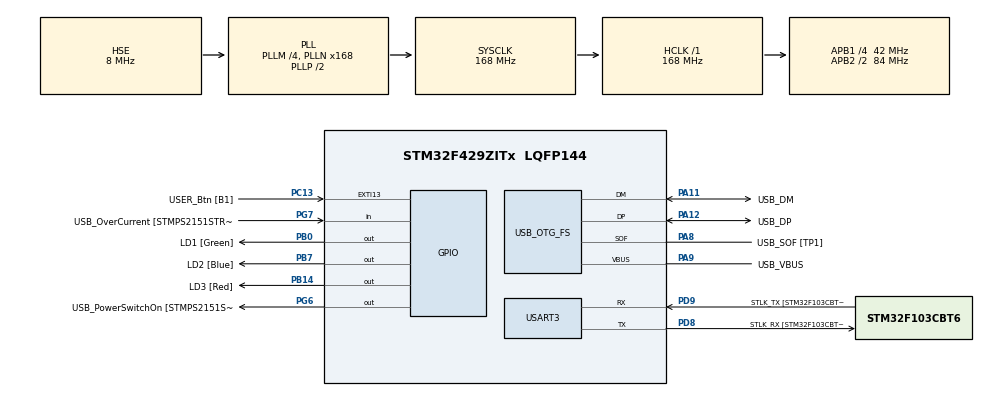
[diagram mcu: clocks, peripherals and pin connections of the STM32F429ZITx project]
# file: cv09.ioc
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Mcu.Family=STM32F4
Mcu.Name=STM32F429ZITx
Mcu.Package=LQFP144
NVIC.OTG_FS_IRQn=true\:0\:0\:false\:false\:true\:true\:true
NVIC.PriorityGroup=NVIC_PRIORITYGROUP_4
PA1.GPIO_Label=RMII_REF_CLK [LAN8742A-CZ-TR_REFCLK0]
PA1.Signal=ETH_REF_CLK
PA10.GPIO_Label=USB_ID
PA10.Signal=USB_OTG_FS_ID
PA11.GPIO_Label=USB_DM
PA11.Mode=Device_Only
PA11.Signal=USB_OTG_FS_DM
PA12.GPIO_Label=USB_DP
PA12.Mode=Device_Only
PA12.Signal=USB_OTG_FS_DP
PA13.GPIO_Label=TMS
PA13.Mode=Serial_Wire
PA13.Signal=SYS_JTMS-SWDIO
PA14.GPIO_Label=TCK
PA14.Mode=Serial_Wire
PA14.Signal=SYS_JTCK-SWCLK
PA2.GPIO_Label=RMII_MDIO [LAN8742A-CZ-TR_MDIO]
PA2.Signal=ETH_MDIO
PA7.GPIO_Label=RMII_CRS_DV [LAN8742A-CZ-TR_CRS_DV]
PA7.Signal=ETH_CRS_DV
PA8.GPIO_Label=USB_SOF [TP1]
PA8.Mode=Activate_SOF_FS
PA8.Signal=USB_OTG_FS_SOF
PA9.GPIO_Label=USB_VBUS
PA9.Mode=Activate_VBUS
PA9.Signal=USB_OTG_FS_VBUS
PB0.GPIO_Label=LD1 [Green]
PB0.Signal=GPIO_Output
PB13.GPIO_Label=RMII_TXD1 [LAN8742A-CZ-TR_TXD1]
PB13.Signal=ETH_TXD1
PB14.GPIO_Label=LD3 [Red]
PB14.Signal=GPIO_Output
PB7.GPIO_Label=LD2 [Blue]
PB7.Signal=GPIO_Output
PC1.GPIO_Label=RMII_MDC [LAN8742A-CZ-TR_MDC]
PC1.Signal=ETH_MDC
PC13.GPIO_Label=USER_Btn [B1]
PC13.Signal=GPXTI13
PC14/OSC32_IN.Mode=LSE-External-Oscillator
PC14/OSC32_IN.Signal=RCC_OSC32_IN
PC15/OSC32_OUT.Mode=LSE-External-Oscillator
PC15/OSC32_OUT.Signal=RCC_OSC32_OUT
PC4.GPIO_Label=RMII_RXD0 [LAN8742A-CZ-TR_RXD0]
PC4.Signal=ETH_RXD0
PC5.GPIO_Label=RMII_RXD1 [LAN8742A-CZ-TR_RXD1]
PC5.Signal=ETH_RXD1
PD8.GPIO_Label=STLK_RX [STM32F103CBT6_PA3]
PD8.Mode=Asynchronous
PD8.Signal=USART3_TX
PD9.GPIO_Label=STLK_TX [STM32F103CBT6_PA2]
PD9.Mode=Asynchronous
PD9.Signal=USART3_RX
PG11.GPIO_Label=RMII_TX_EN [LAN8742A-CZ-TR_TXEN]
PG11.Signal=ETH_TX_EN
PG13.GPIO_Label=RMII_TXD0 [LAN8742A-CZ-TR_TXD0]
PG13.Signal=ETH_TXD0
PG6.GPIO_Label=USB_PowerSwitchOn [STMPS2151STR_EN]
PG6.Signal=GPIO_Output
PG7.GPIO_Label=USB_OverCurrent [STMPS2151STR_FAULT]
PG7.Signal=GPIO_Input
PH0/OSC_IN.GPIO_Label=MCO [STM32F103CBT6_PA8]
PH0/OSC_IN.Mode=HSE-External-Clock-Source
PH0/OSC_IN.Signal=RCC_OSC_IN
PH1/OSC_OUT.Mode=HSE-External-Clock-Source
PH1/OSC_OUT.Signal=RCC_OSC_OUT
ProjectManager.HeapSize=0x200
ProjectManager.StackSize=0x400
ProjectManager.TargetToolchain=STM32CubeIDE
RCC.48MHZClocksFreq_Value=48000000
RCC.AHBFreq_Value=168000000
RCC.APB1CLKDivider=RCC_HCLK_DIV4
RCC.APB1Freq_Value=42000000
RCC.APB1TimFreq_Value=84000000
RCC.APB2CLKDivider=RCC_HCLK_DIV2
RCC.APB2Freq_Value=84000000
RCC.APB2TimCLKDivider=2
RCC.APB2TimFreq_Value=168000000
RCC.CortexFreq_Value=168000000
RCC.HCLKFreq_Value=168000000
RCC.HSE_VALUE=8000000
RCC.HSI_VALUE=16000000
RCC.PLLM=4
RCC.PLLMUL=RCC_PLL_MUL9
RCC.PLLN=168
RCC.PLLQ=7
RCC.PRESCALERUSB=RCC_USBCLKSOURCE_PLL_DIV1_5
RCC.SYSCLKFreq_VALUE=168000000
RCC.SYSCLKSource=RCC_SYSCLKSOURCE_PLLCLK
RCC.SYSCLKSourceVirtual=RCC_SYSCLKSOURCE_PLLCLK
RCC.USBFreq_Value=48000000
RCC.VCOOutputFreq_Value=336000000
USART3.VirtualMode=VM_ASYNC
USB_DEVICE.CLASS_NAME_FS=HID
USB_DEVICE.VirtualMode-HID_FS=Hid
USB_DEVICE.VirtualModeFS=Hid_FS
USB_OTG_FS.VirtualMode=Device_Only
VP_USB_DEVICE_VS_USB_DEVICE_HID_FS.Mode=HID_FS
board=NUCLEO-F429ZI

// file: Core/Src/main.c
/* USER CODE BEGIN Header */
/**
  ******************************************************************************
  * @file           : main.c
  * @brief          : Main program body
  ******************************************************************************
  * @attention
  *
  * <h2><center>&copy; Copyright (c) 2020 STMicroelectronics.
  * All rights reserved.</center></h2>
  *
  * This software component is licensed by ST under BSD 3-Clause license,
  * the "License"; You may not use this file except in compliance with the
  * License. You may obtain a copy of the License at:
  *                        opensource.org/licenses/BSD-3-Clause
  *
  ******************************************************************************
  */
/* USER CODE END Header */
#include "main.h"
#include "usb_device.h"

/* USER CODE BEGIN Includes */
#include "usbd_hid.h"
#include <math.h>

/* USER CODE END Includes */

/* USER CODE BEGIN PD */
#define PI 3.14159265358979323846

/* USER CODE END PD */

UART_HandleTypeDef huart3;

/* USER CODE BEGIN PV */
extern USBD_HandleTypeDef hUsbDeviceFS;

void step(int8_t x, int8_t y, int8_t btn){

	uint8_t buff[4];

	buff[0] = &btn; // stiskni leve tlacitko
	buff[1] = x; // posun X +10
	buff[2] = y; // posun Y -3
	buff[3] = 0; // bez scrollu

	USBD_HID_SendReport(&hUsbDeviceFS, buff, sizeof(buff));

	return;
}

void circle(uint8_t radius){

	int8_t new_x = 0;
	int8_t new_y = 0;
	float x = 0;
	float y = 0;

	uint8_t i;

	uint8_t buff[4];
	buff[0] = 0x01;

	for (i = 0; i <= 2*PI; i + 2*PI/50){

		buff[1] = new_x; // posun X
		buff[2] = new_y; // posun Y
		buff[3] = 0; // bez scrollu

		USBD_HID_SendReport(&hUsbDeviceFS, buff, sizeof(buff));

		x = radius * cos(i);
		y = radius * sin(i);

		new_x = (int8_t)(x)-new_x;
		new_y = (int8_t)(y)-new_y;

	}

	return;

}

void arc(uint8_t radius){

	int8_t new_x = 0;
	int8_t new_y = 0;
	float x = 0;
	float y = 0;

	uint8_t i;

	uint8_t buff[4];
	buff[0] = 0x01;

	for (i = 0; i <= 2*(PI/3); i + 2*(PI/3)/50){

		buff[1] = new_x; // posun X
		buff[2] = new_y; // posun Y
		buff[3] = 0; // bez scrollu

		USBD_HID_SendReport(&hUsbDeviceFS, buff, sizeof(buff));

		x = radius * cos(i);
		y = radius * sin(i);

		new_x = (int8_t)(x)-new_x;
		new_y = (int8_t)(y)-new_y;

	}

	return;

}

void smile(){	// pro presnou kresbu je nutne dodat body pocatecnich bodu a uhlu jako vstupni hodnoty funkci

	circle(200);
	HAL_Delay(USBD_HID_GetPollingInterval(&hUsbDeviceFS));

	circle(10);
	HAL_Delay(USBD_HID_GetPollingInterval(&hUsbDeviceFS));
	circle(10);
	HAL_Delay(USBD_HID_GetPollingInterval(&hUsbDeviceFS));

	arc(150);
	HAL_Delay(USBD_HID_GetPollingInterval(&hUsbDeviceFS));

	step(0, -40, 1);
	HAL_Delay(USBD_HID_GetPollingInterval(&hUsbDeviceFS));

	return;

}

/* USER CODE END PV */

void SystemClock_Config(void);
static void MX_GPIO_Init(void);
static void MX_USART3_UART_Init(void);

int main(void)
{

  /* MCU Configuration--------------------------------------------------------*/

  /* Reset of all peripherals, Initializes the Flash interface and the Systick. */
  HAL_Init();

  /* Configure the system clock */
  SystemClock_Config();

  /* Initialize all configured peripherals */
  MX_GPIO_Init();
  MX_USART3_UART_Init();
  MX_USB_DEVICE_Init();

  /* Infinite loop */
  /* USER CODE BEGIN WHILE */
  while (1)
  {
	  do { HAL_Delay(40); } while (HAL_GPIO_ReadPin(USER_Btn_GPIO_Port, USER_Btn_Pin));

	  uint8_t buff[4];

	  buff[0] = 0x01; // stiskni leve tlacitko
	  buff[1] = (int8_t)(10); // posun X +10
	  buff[2] = (int8_t)(-3); // posun Y -3
	  buff[3] = 0; // bez scrollu

	  USBD_HID_SendReport(&hUsbDeviceFS, buff, sizeof(buff));
	  HAL_Delay(USBD_HID_GetPollingInterval(&hUsbDeviceFS));

    /* USER CODE END WHILE */

  }
}

void SystemClock_Config(void)
{
  RCC_OscInitTypeDef RCC_OscInitStruct = {0};
  RCC_ClkInitTypeDef RCC_ClkInitStruct = {0};

  /** Configure the main internal regulator output voltage
  */
  __HAL_RCC_PWR_CLK_ENABLE();
  __HAL_PWR_VOLTAGESCALING_CONFIG(PWR_REGULATOR_VOLTAGE_SCALE1);
  /** Initializes the RCC Oscillators according to the specified parameters
  * in the RCC_OscInitTypeDef structure.
  */
  RCC_OscInitStruct.OscillatorType = RCC_OSCILLATORTYPE_HSE;
  RCC_OscInitStruct.HSEState = RCC_HSE_BYPASS;
  RCC_OscInitStruct.PLL.PLLState = RCC_PLL_ON;
  RCC_OscInitStruct.PLL.PLLSource = RCC_PLLSOURCE_HSE;
  RCC_OscInitStruct.PLL.PLLM = 4;
  RCC_OscInitStruct.PLL.PLLN = 168;
  RCC_OscInitStruct.PLL.PLLP = RCC_PLLP_DIV2;
  RCC_OscInitStruct.PLL.PLLQ = 7;
  if (HAL_RCC_OscConfig(&RCC_OscInitStruct) != HAL_OK)
  {
    Error_Handler();
  }
  /** Initializes the CPU, AHB and APB buses clocks
  */
  RCC_ClkInitStruct.ClockType = RCC_CLOCKTYPE_HCLK|RCC_CLOCKTYPE_SYSCLK
                              |RCC_CLOCKTYPE_PCLK1|RCC_CLOCKTYPE_PCLK2;
  RCC_ClkInitStruct.SYSCLKSource = RCC_SYSCLKSOURCE_PLLCLK;
  RCC_ClkInitStruct.AHBCLKDivider = RCC_SYSCLK_DIV1;
  RCC_ClkInitStruct.APB1CLKDivider = RCC_HCLK_DIV4;
  RCC_ClkInitStruct.APB2CLKDivider = RCC_HCLK_DIV2;

  if (HAL_RCC_ClockConfig(&RCC_ClkInitStruct, FLASH_LATENCY_5) != HAL_OK)
  {
    Error_Handler();
  }
}

static void MX_USART3_UART_Init(void)
{

  huart3.Instance = USART3;
  huart3.Init.BaudRate = 115200;
  huart3.Init.WordLength = UART_WORDLENGTH_8B;
  huart3.Init.StopBits = UART_STOPBITS_1;
  huart3.Init.Parity = UART_PARITY_NONE;
  huart3.Init.Mode = UART_MODE_TX_RX;
  huart3.Init.HwFlowCtl = UART_HWCONTROL_NONE;
  huart3.Init.OverSampling = UART_OVERSAMPLING_16;
  if (HAL_UART_Init(&huart3) != HAL_OK)
  {
    Error_Handler();
  }

}

static void MX_GPIO_Init(void)
{
  GPIO_InitTypeDef GPIO_InitStruct = {0};

  /* GPIO Ports Clock Enable */
  __HAL_RCC_GPIOC_CLK_ENABLE();
  __HAL_RCC_GPIOH_CLK_ENABLE();
  __HAL_RCC_GPIOA_CLK_ENABLE();
  __HAL_RCC_GPIOB_CLK_ENABLE();
  __HAL_RCC_GPIOD_CLK_ENABLE();
  __HAL_RCC_GPIOG_CLK_ENABLE();

  /*Configure GPIO pin Output Level */
  HAL_GPIO_WritePin(GPIOB, LD1_Pin|LD3_Pin|LD2_Pin, GPIO_PIN_RESET);

  /*Configure GPIO pin Output Level */
  HAL_GPIO_WritePin(USB_PowerSwitchOn_GPIO_Port, USB_PowerSwitchOn_Pin, GPIO_PIN_RESET);

  /*Configure GPIO pin : USER_Btn_Pin */
  GPIO_InitStruct.Pin = USER_Btn_Pin;
  GPIO_InitStruct.Mode = GPIO_MODE_IT_RISING;
  GPIO_InitStruct.Pull = GPIO_NOPULL;
  HAL_GPIO_Init(USER_Btn_GPIO_Port, &GPIO_InitStruct);

  /*Configure GPIO pins : RMII_MDC_Pin RMII_RXD0_Pin RMII_RXD1_Pin */
  GPIO_InitStruct.Pin = RMII_MDC_Pin|RMII_RXD0_Pin|RMII_RXD1_Pin;
  GPIO_InitStruct.Mode = GPIO_MODE_AF_PP;
  GPIO_InitStruct.Pull = GPIO_NOPULL;
  GPIO_InitStruct.Speed = GPIO_SPEED_FREQ_VERY_HIGH;
  GPIO_InitStruct.Alternate = GPIO_AF11_ETH;
  HAL_GPIO_Init(GPIOC, &GPIO_InitStruct);

  /*Configure GPIO pins : RMII_REF_CLK_Pin RMII_MDIO_Pin RMII_CRS_DV_Pin */
  GPIO_InitStruct.Pin = RMII_REF_CLK_Pin|RMII_MDIO_Pin|RMII_CRS_DV_Pin;
  GPIO_InitStruct.Mode = GPIO_MODE_AF_PP;
  GPIO_InitStruct.Pull = GPIO_NOPULL;
  GPIO_InitStruct.Speed = GPIO_SPEED_FREQ_VERY_HIGH;
  GPIO_InitStruct.Alternate = GPIO_AF11_ETH;
  HAL_GPIO_Init(GPIOA, &GPIO_InitStruct);

  /*Configure GPIO pins : LD1_Pin LD3_Pin LD2_Pin */
  GPIO_InitStruct.Pin = LD1_Pin|LD3_Pin|LD2_Pin;
  GPIO_InitStruct.Mode = GPIO_MODE_OUTPUT_PP;
  GPIO_InitStruct.Pull = GPIO_NOPULL;
  GPIO_InitStruct.Speed = GPIO_SPEED_FREQ_LOW;
  HAL_GPIO_Init(GPIOB, &GPIO_InitStruct);

  /*Configure GPIO pin : RMII_TXD1_Pin */
  GPIO_InitStruct.Pin = RMII_TXD1_Pin;
  GPIO_InitStruct.Mode = GPIO_MODE_AF_PP;
  GPIO_InitStruct.Pull = GPIO_NOPULL;
  GPIO_InitStruct.Speed = GPIO_SPEED_FREQ_VERY_HIGH;
  GPIO_InitStruct.Alternate = GPIO_AF11_ETH;
  HAL_GPIO_Init(RMII_TXD1_GPIO_Port, &GPIO_InitStruct);

  /*Configure GPIO pin : USB_PowerSwitchOn_Pin */
  GPIO_InitStruct.Pin = USB_PowerSwitchOn_Pin;
  GPIO_InitStruct.Mode = GPIO_MODE_OUTPUT_PP;
  GPIO_InitStruct.Pull = GPIO_NOPULL;
  GPIO_InitStruct.Speed = GPIO_SPEED_FREQ_LOW;
  HAL_GPIO_Init(USB_PowerSwitchOn_GPIO_Port, &GPIO_InitStruct);

  /*Configure GPIO pin : USB_OverCurrent_Pin */
  GPIO_InitStruct.Pin = USB_OverCurrent_Pin;
  GPIO_InitStruct.Mode = GPIO_MODE_INPUT;
  GPIO_InitStruct.Pull = GPIO_NOPULL;
  HAL_GPIO_Init(USB_OverCurrent_GPIO_Port, &GPIO_InitStruct);

  /*Configure GPIO pins : RMII_TX_EN_Pin RMII_TXD0_Pin */
  GPIO_InitStruct.Pin = RMII_TX_EN_Pin|RMII_TXD0_Pin;
  GPIO_InitStruct.Mode = GPIO_MODE_AF_PP;
  GPIO_InitStruct.Pull = GPIO_NOPULL;
  GPIO_InitStruct.Speed = GPIO_SPEED_FREQ_VERY_HIGH;
  GPIO_InitStruct.Alternate = GPIO_AF11_ETH;
  HAL_GPIO_Init(GPIOG, &GPIO_InitStruct);

}

void Error_Handler(void)
{
}

/************************ (C) COPYRIGHT STMicroelectronics *****END OF FILE****/
